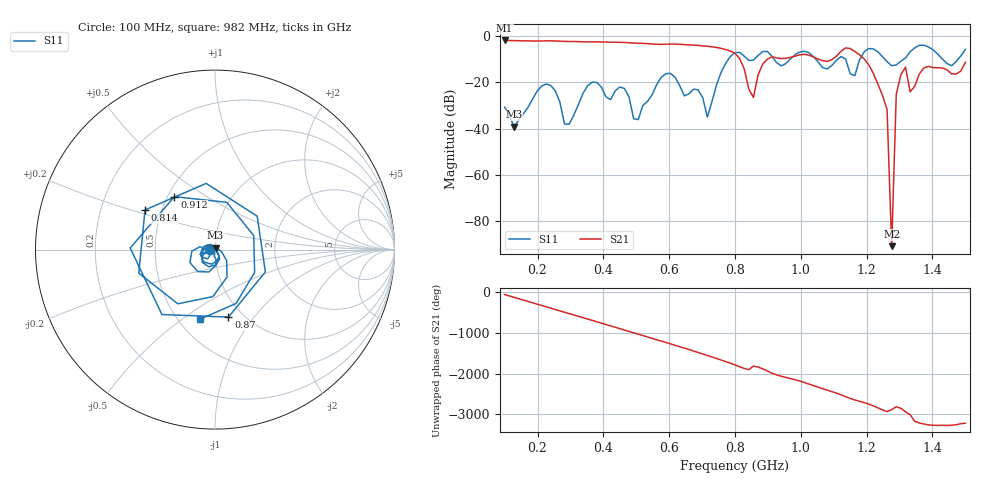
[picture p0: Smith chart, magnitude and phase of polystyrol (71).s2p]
! NanoVNA-App
! Date: 2025-09-25 15:30:26
! Start: 100MHz Stop: 1,5GHz Points: 101
! S-Parameter data: F S11 S21 S12 S22
# Hz S RI R 50
!  Frequency  S11_Real  S11_Imag  S21_Real  S21_Imag  S12_Real  S12_Imag  S22_Real  S22_Imag
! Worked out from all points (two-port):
!   101 points, 100 MHz to 1.5 GHz, reference 50 ohm
!   highest |S21| = -1.80 dB at 100 MHz (marker M1); lowest = -90.9 dB at 1.276 GHz (marker M2)
!   |S21| within 3 dB of the highest: start of sweep to 742.9 MHz
!   lowest |S11| = -39.1 dB at 128 MHz (marker M3), VSWR 1.02, Z = 50.3 + j1.06 ohm
!   |S11| at or under -10 dB: start of sweep to 779.9 MHz; 1.046 GHz to 1.112 GHz (65.77 MHz wide, 6.1 % of centre); 1.256 GHz to 1.312 GHz (55.83 MHz wide, 4.35 % of centre) (the widest 3 of 7)
!   S12 and S22 are empty: the file has one direction only
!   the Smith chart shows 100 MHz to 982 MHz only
!   S11 on the Smith chart (normalised r, x): 100 MHz: 0.94, -0.01; 814 MHz: 0.40, +0.22; 870 MHz: 0.86, -0.75; 912 MHz: 0.54, +0.37; 982 MHz: 0.63, -0.58
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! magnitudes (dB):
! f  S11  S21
! 100 MHz  -30.7  -1.8
! 128 MHz  -39.1  -1.9
! 212 MHz  -21.6  -2.0
! 282 MHz  -38.0  -2.2
! 338 MHz  -24.7  -2.4
! 464 MHz  -22.6  -2.7
! 506 MHz  -36.0  -3.0
! 576 MHz  -17.8  -3.5
! 716 MHz  -35.0  -4.3
! 800 MHz  -7.0  -7.4
! 814 MHz  -7.0  -9.6
! 856 MHz  -10.3  -26.5
! 870 MHz  -8.3  -16.7
! 912 MHz  -8.6  -8.9
! 982 MHz  -8.0  -8.6
! 1.038 GHz  -8.7  -8.9
! 1.22 GHz  -5.4  -16.0
! 1.262 GHz  -10.9  -31.7
! 1.276 GHz  -12.7  -90.9
! 1.29 GHz  -12.4  -25.1
! 1.304 GHz  -10.8  -16.6
! 1.5 GHz  -5.7  -11.3
